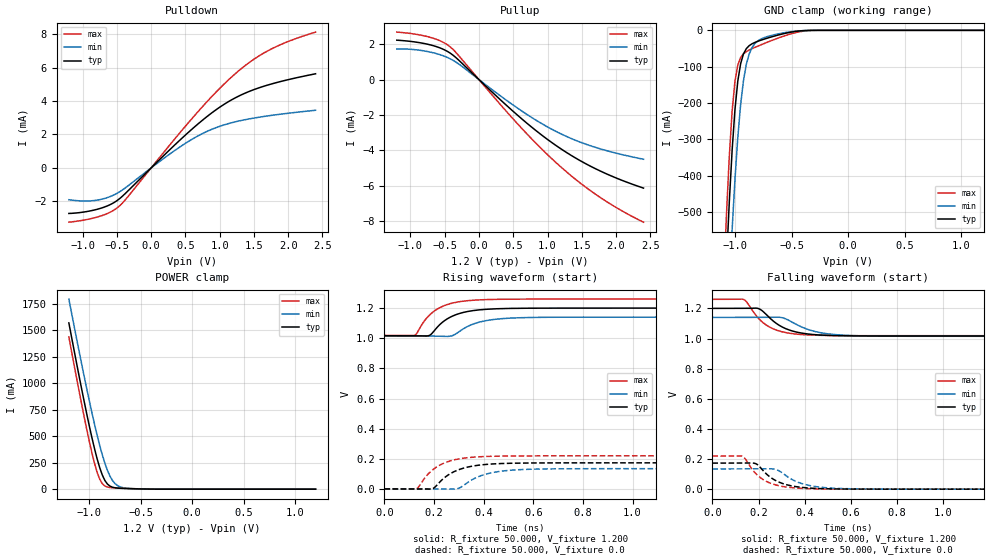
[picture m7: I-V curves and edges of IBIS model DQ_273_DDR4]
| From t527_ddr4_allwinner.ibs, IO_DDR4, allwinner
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|   Model DQ_273_DDR4
[Model] DQ_273_DDR4
Model_type I/O
Polarity   Non-Inverting
Enable   Active-Low
Vinl =  0.600V
Vinh =  0.600V
C_comp   1.619pF   1.582pF   1.665pF
C_comp_pullup   0.537pF   0.521pF   0.558pF
C_comp_pulldown   0.816pF   0.795pF   0.842pF
[Model Spec]
Vinh   0.600V   0.570V   0.630V
Vinl   0.600V   0.570V   0.630V
[Temperature Range]   25.000   0.125k   -40.000
[Voltage Range]   1.200V   1.140V   1.260V
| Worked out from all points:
|   slope of the pulldown table from 0 to 0.18 V, typ, clamps not added: 249 ohm
|   slope of the pullup table from 0 to 0.18 V, typ, clamps not added: 272 ohm
|   GND clamp passes 1 mA (typ) near -0.40 V on its own axis
|   POWER clamp passes 1 mA (typ) near -0.43 V on its own axis
|   rising waveform, R_fixture 50.000, V_fixture 1.200: 20-80 % time 98.2ps typ, 106ps min, 91.9ps max; typ from 1.02 V to 1.2 V
|   rising waveform, R_fixture 50.000, V_fixture 0.0: 20-80 % time 103ps typ, 111ps min, 96.5ps max; typ from 0 V to 0.173 V
|   falling waveform, R_fixture 50.000, V_fixture 1.200: 20-80 % time 109ps typ, 126ps min, 96.9ps max; typ from 1.2 V to 1.02 V
|   falling waveform, R_fixture 50.000, V_fixture 0.0: 20-80 % time 99.1ps typ, 109ps min, 91.7ps max; typ from 0.173 V to 0 V
[Pulldown]
|Voltage   I(typ)   I(min)   I(max)
-1.2V     -2.718mA   -1.898mA   -3.24mA
-830mV    -2.513mA   -1.946mA   -2.982mA
-645mV    -2.277mA   -1.779mA   -2.733mA
-497mV    -1.95mA    -1.515mA   -2.39mA
-386mV    -1.563mA   -1.218mA   -1.949mA
206mV     827.1uA    634.1uA    1.04mA
576mV     2.244mA    1.661mA    2.854mA
872mV     3.248mA    2.285mA    4.206mA
1.205V    4.137mA    2.732mA    5.545mA
1.464V    4.624mA    2.954mA    6.393mA
1.723V    4.978mA    3.121mA    7.04mA
2.4V      5.626mA    3.447mA    8.116mA
[Pullup]
|Voltage   I(typ)   I(min)   I(max)
-1.2V     2.231mA    1.728mA    2.688mA
-967mV    2.146mA    1.705mA    2.592mA
-745mV    1.996mA    1.583mA    2.425mA
-560mV    1.779mA    1.399mA    2.181mA
-449mV    1.568mA    1.231mA    1.936mA
-338mV    1.249mA    993.7uA    1.541mA
587mV     -2.094mA   -1.676mA   -2.601mA
1.142V    -3.773mA   -2.964mA   -4.755mA
1.438V    -4.496mA   -3.475mA   -5.726mA
1.734V    -5.1mA     -3.871mA   -6.568mA
2.067V    -5.663mA   -4.218mA   -7.376mA
2.4V      -6.131mA   -4.501mA   -8.058mA
[GND_clamp]
|Voltage   I(typ)   I(min)   I(max)
-1.2V     -1.58A     -1.767A    -1.488A
-1.1V     -814.7mA   -1.043A    -687.9mA
-1.075V   -635.1mA   -867.9mA   -505.2mA
-1.05V    -470.6mA   -700.9mA   -345.6mA
-1.025V   -328.8mA   -546.4mA   -221.2mA
-1V       -217.3mA   -409.4mA   -139.7mA
-950mV    -91.68mA   -204.1mA   -74.62mA
-925mV    -64.95mA   -138.5mA   -64.4mA
-875mV    -42.32mA   -65.59mA   -54.22mA
-775mV    -27.6mA    -24.67mA   -40.49mA
-475mV    -3.461mA   -2.765mA   -7.117mA
1.2V      0A         0A         0A
[POWER_clamp]
|Voltage   I(typ)   I(min)   I(max)
-1.2V     1.569A     1.794A     1.436A
-1.1V     1.065A     1.299A     923.3mA
-1.025V   705.5mA    943.2mA    559.5mA
-975mV    483.1mA    718.4mA    339.7mA
-925mV    286.3mA    509.5mA    159.2mA
-900mV    203.1mA    413.5mA    94.6mA
-850mV    82.64mA    246mA      29.88mA
-800mV    28.59mA    122.8mA    15.32mA
-725mV    10.03mA    32.68mA    10.49mA
-650mV    6.259mA    9.931mA    7.528mA
-450mV    1.297mA    1.702mA    1.414mA
1.2V      0A         0A         0A
[Ramp]
| variable   typ   min   max
dV/dt_r   0.104/0.103n   80.570m/0.111n   0.132/96.519p
dV/dt_f   0.110/0.109n   75.170m/0.126n   0.145/96.932p
R_load = 50.000
[Rising Waveform]
R_fixture= 50.000
V_fixture= 1.200
V_fixture_min= 1.140
V_fixture_max= 1.260
|time   V(typ)   V(min)   V(max)
0s        1.016V     1.015V     1.019V
123ps     1.016V     1.015V     1.02V
178ps     1.017V     1.015V     1.148V
214ps     1.075V     1.013V     1.195V
258ps     1.133V     1.012V     1.226V
281ps     1.152V     1.022V     1.236V
352ps     1.182V     1.091V     1.252V
436ps     1.194V     1.124V     1.258V
578ps     1.199V     1.137V     1.26V
2ns       1.2V       1.14V      1.26V
[Rising Waveform]
R_fixture= 50.000
V_fixture= 0.0
V_fixture_min= 0.0
V_fixture_max= 0.0
|time   V(typ)   V(min)   V(max)
0s        4.927uV    100.3uV    410nV
128ps     108.6uV    146.8uV    -110.7uV
169ps     -462.1uV   83.4uV     85.73mV
191ps     -351uV     185.5uV    122mV
250ps     84.63mV    -30.07uV   177.7mV
293ps     123.4mV    914.4uV    196.9mV
369ps     155mV      74.23mV    212mV
461ps     167.7mV    115.4mV    217.5mV
608ps     172.2mV    131.4mV    219.3mV
2ns       172.9mV    134.4mV    219.6mV
[Falling Waveform]
R_fixture= 50.000
V_fixture= 1.200
V_fixture_min= 1.140
V_fixture_max= 1.260
|time   V(typ)   V(min)   V(max)
0s        1.2V       1.14V      1.26V
135ps     1.2V       1.14V      1.26V
197ps     1.2V       1.14V      1.139V
229ps     1.166V     1.14V      1.094V
268ps     1.111V     1.141V     1.061V
312ps     1.069V     1.134V     1.041V
376ps     1.039V     1.084V     1.028V
477ps     1.022V     1.036V     1.021V
626ps     1.017V     1.018V     1.019V
2ns       1.016V     1.015V     1.019V
[Falling Waveform]
R_fixture= 50.000
V_fixture= 0.0
V_fixture_min= 0.0
V_fixture_max= 0.0
|time   V(typ)   V(min)   V(max)
0s        172.9mV    134.4mV    219.6mV
130ps     172.9mV    134.3mV    218.3mV
141ps     173mV      134.3mV    204.3mV
184ps     171.2mV    134.4mV    110mV
224ps     116.2mV    134.9mV    60.01mV
276ps     55.93mV    129.9mV    27.43mV
365ps     16.09mV    49.64mV    7.234mV
457ps     4.456mV    15.13mV    1.811mV
597ps     635.4uV    2.568mV    221.2uV
2ns       4.928uV    100.3uV    410.6nV
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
